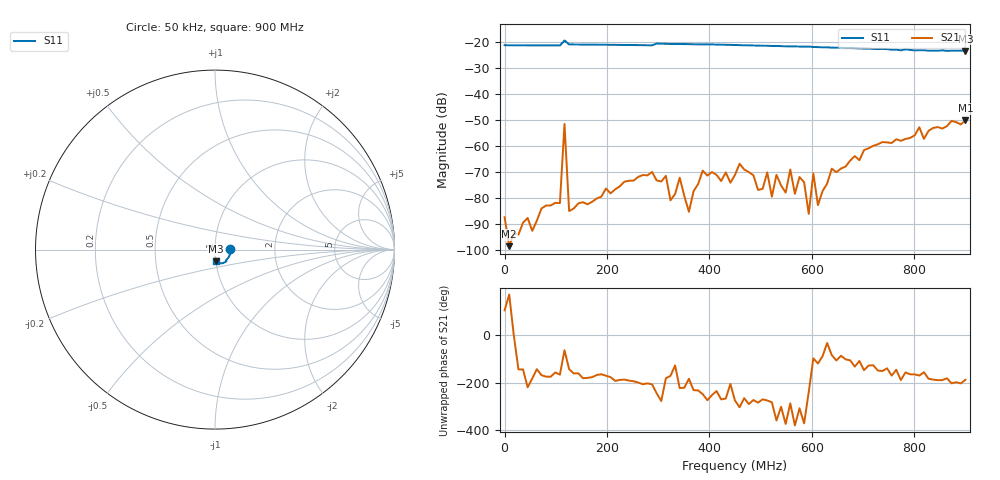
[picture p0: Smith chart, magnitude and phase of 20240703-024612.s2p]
# HZ S RI R 50
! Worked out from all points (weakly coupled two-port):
!   101 points, 50 kHz to 900 MHz, reference 50 ohm
!   highest |S21| = -50.36 dB at 900 MHz (marker M1); lowest = -98.7 dB at 9.05 MHz (marker M2)
!   lowest |S11| = -23.6 dB at 900 MHz (marker M3), VSWR 1.14, Z = 50.1 - j6.6 ohm
!   |S11| at or under -10 dB: start of sweep to end of sweep
!   S12 and S22 are empty: the file has one direction only
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50000  0.085 0.00101  -8.85e-06 4.1e-05  0 0  0 0
9049500  0.0846 -0.00188  -1.14e-05 2.39e-06  0 0  0 0
1.08044e8  0.08 -0.025  -7.63e-05 -1.79e-05  0 0  0 0
1.170435e8  0.1047 0.00359  0.0011 -0.00235  0 0  0 0
1.26043e8  0.0825 -0.03  -4.44e-05 -3.27e-05  0 0  0 0
1.530415e8  0.0797 -0.0358  -8.15e-05 2.55e-06  0 0  0 0
3.06033e8  0.0632 -0.0651  2.49e-05 0.000202  0 0  0 0
3.6003e8  0.0539 -0.0708  -5.32e-05 3.69e-06  0 0  0 0
3.870285e8  0.0492 -0.0729  -0.000121 0.000306  0 0  0 0
4.50025e8  0.0397 -0.0761  2.51e-05 0.000272  0 0  0 0
4.950225e8  0.0335 -0.0766  3.31e-05 0.000136  0 0  0 0
5.130215e8  0.0309 -0.0768  2.54e-05 0.000304  0 0  0 0
5.22021e8  0.03 -0.0765  2.22e-05 0.000102  0 0  0 0
5.58019e8  0.0259 -0.076  0.000101 0.000332  0 0  0 0
5.670185e8  0.0252 -0.0764  0.000112 -3.88e-05  0 0  0 0
5.76018e8  0.0242 -0.0763  0.00015 0.000198  0 0  0 0
5.94017e8  0.0228 -0.0767  -2.43e-05 4.22e-05  0 0  0 0
6.030165e8  0.0218 -0.0755  -4.43e-05 -0.000288  0 0  0 0
6.12016e8  0.0204 -0.0753  -3.58e-05 -6.2e-05  0 0  0 0
6.390145e8  0.0183 -0.0741  3.15e-05 -0.000358  0 0  0 0
7.56008e8  0.0118 -0.0686  -0.0011 -0.00018  0 0  0 0
9e8  0.00568 -0.0655  -0.003 0.000435  0 0  0 0
